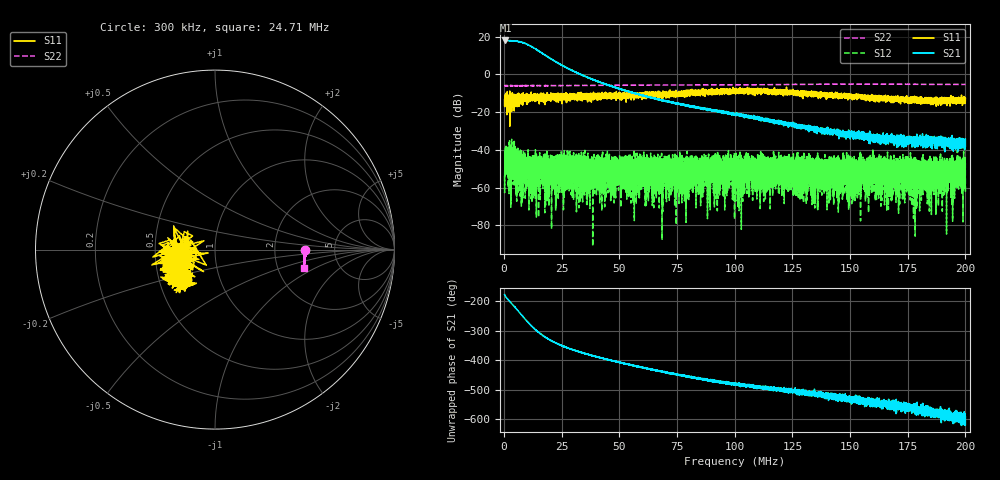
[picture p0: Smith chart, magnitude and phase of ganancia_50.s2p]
# Hz S DB R 50
! CMT, M5065, 19127446, 24.2.4/2
! Date: 11/8/2024 3:31:47 PM
! Data: Format (Calibration Info)
! Freq	S11:dB/Ang(F2)	S21:dB/Ang(F2)	S12:dB/Ang(F2)	S22:dB/Ang(F2)
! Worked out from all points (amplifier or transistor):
!   9000 points, 300 kHz to 200 MHz, reference 50 ohm
!   highest |S21| = 18.0 dB at 655.1 kHz (marker M1)
!   |S21| within 3 dB of that: start of sweep to 11.59 MHz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
!   unconditionally stable (mu >= 1): start of sweep to end of sweep
!   at 33.59 MHz: K = 199.51, MAG = 1.3 dB, |S12| = -54.9 dB
!   at 100.2 MHz: K = 871.77, MAG = -19.1 dB, |S12| = -47.9 dB
!   at 200 MHz: K = 37986.38, MAG = -36.3 dB, |S12| = -63.1 dB
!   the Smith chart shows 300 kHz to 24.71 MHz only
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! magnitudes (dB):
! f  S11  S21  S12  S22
! 300 kHz  -13.3  17.9  -53.7  -6.0
! 655.1 kHz  -14.7  18.0  -38.9  -6.0
! 1.609 MHz  -16.7  17.9  -46.3  -6.0
! 9.687 MHz  -12.4  16.2  -51.2  -6.0
! 11.68 MHz  -11.7  14.9  -49.0  -5.9
! 15.32 MHz  -15.7  12.1  -55.8  -6.0
! 29.35 MHz  -12.3  2.1  -49.8  -5.9
! 33.59 MHz  -12.5  -0.2  -54.9  -5.9
! 66.87 MHz  -10.3  -13.3  -54.3  -5.7
! 100.2 MHz  -8.3  -21.2  -47.9  -5.5
! 124.2 MHz  -9.5  -26.4  -52.4  -5.4
! 133.4 MHz  -12.0  -28.9  -44.8  -5.3
! 148 MHz  -10.6  -30.4  -51.7  -5.2
! 152.7 MHz  -11.1  -31.2  -48.5  -5.2
! 154.8 MHz  -10.8  -32.5  -44.5  -5.2
! 157.4 MHz  -12.3  -33.0  -60.3  -5.2
! 159.7 MHz  -12.1  -34.2  -56.3  -5.2
! 163.1 MHz  -12.8  -34.9  -49.3  -5.2
! 166.7 MHz  -12.6  -33.6  -52.5  -5.2
! 191 MHz  -14.7  -35.3  -61.9  -5.3
! 199 MHz  -13.9  -36.0  -78.2  -5.3
! 200 MHz  -12.8  -38.0  -63.1  -5.3
